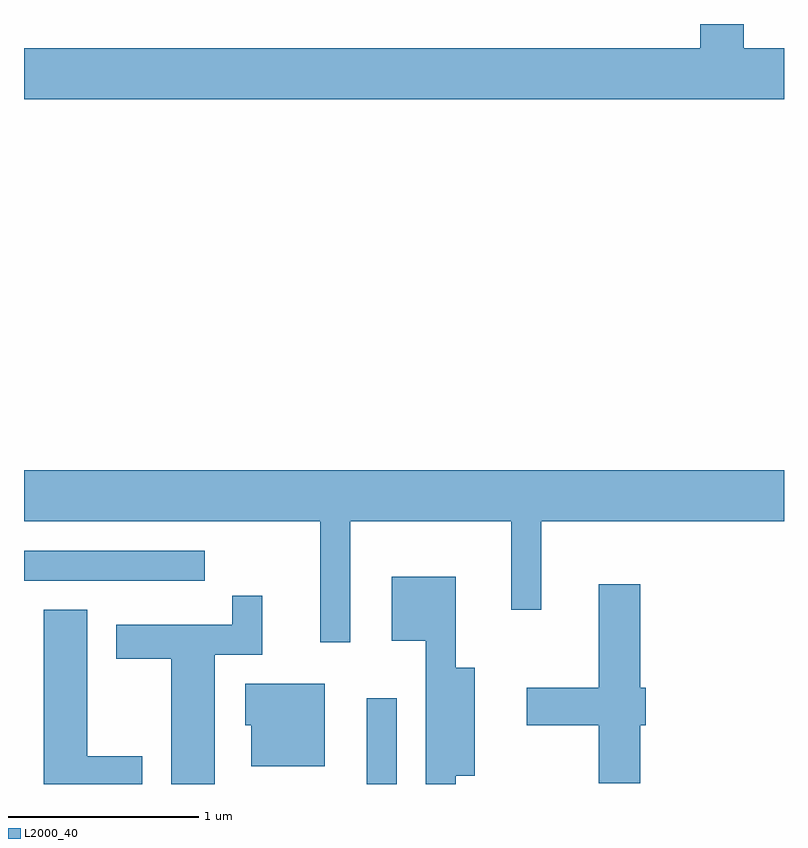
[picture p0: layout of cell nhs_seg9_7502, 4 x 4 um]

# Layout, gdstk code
import gdstk
lib = gdstk.Library(unit=1e-6, precision=1e-09)
def R(c, l, rs):  # rectangles x0, y0, x1, y1
    for r in rs: c.add(gdstk.rectangle(r[:2], r[2:], *l))
def P(c, l, *ps):  # polygons
    for p in ps: c.add(gdstk.Polygon(p, *l))
L2000_40 = (2000, 40)

nhs_seg9_7502 = lib.new_cell('nhs_seg9_7502')
R(nhs_seg9_7502, L2000_40, [(409.416,1990.432,409.574,1990.883), (407.611,1991.501,408.563,1991.659)])
P(nhs_seg9_7502, L2000_40, [(411.611,1994.304),(411.399,1994.304),(411.399,1994.432),(411.171,1994.432),(411.171,1994.304),(407.611,1994.304),(407.611,1994.036),(411.611,1994.036)],
  [(409.329,1991.816),(410.176,1991.816),(410.176,1991.348),(410.334,1991.348),(410.334,1991.816),(411.611,1991.816),(411.611,1992.084),(407.611,1992.084),(407.611,1991.816),(409.171,1991.816),(409.171,1991.178),(409.329,1991.178)],
  [(409.884,1990.476),(409.984,1990.476),(409.984,1991.044),(409.884,1991.044),(409.884,1991.524),(409.546,1991.524),(409.546,1991.186),(409.726,1991.186),(409.726,1990.432),(409.884,1990.432)],
  [(410.854,1990.741),(410.884,1990.741),(410.884,1990.939),(410.854,1990.939),(410.854,1991.484),(410.636,1991.484),(410.636,1990.939),(410.256,1990.939),(410.256,1990.741),(410.636,1990.741),(410.636,1990.436),(410.854,1990.436)],
  [(408.614,1991.111),(408.864,1991.111),(408.864,1991.423),(408.706,1991.423),(408.706,1991.269),(408.096,1991.269),(408.096,1991.091),(408.386,1991.091),(408.386,1990.432),(408.614,1990.432)],
  [(408.234,1990.579),(407.944,1990.579),(407.944,1991.349),(407.716,1991.349),(407.716,1990.432),(408.234,1990.432)],
  [(409.194,1990.959),(408.776,1990.959),(408.776,1990.741),(408.806,1990.741),(408.806,1990.526),(409.194,1990.526)])

lib.write_gds('nhs_seg9_7502.gds')
